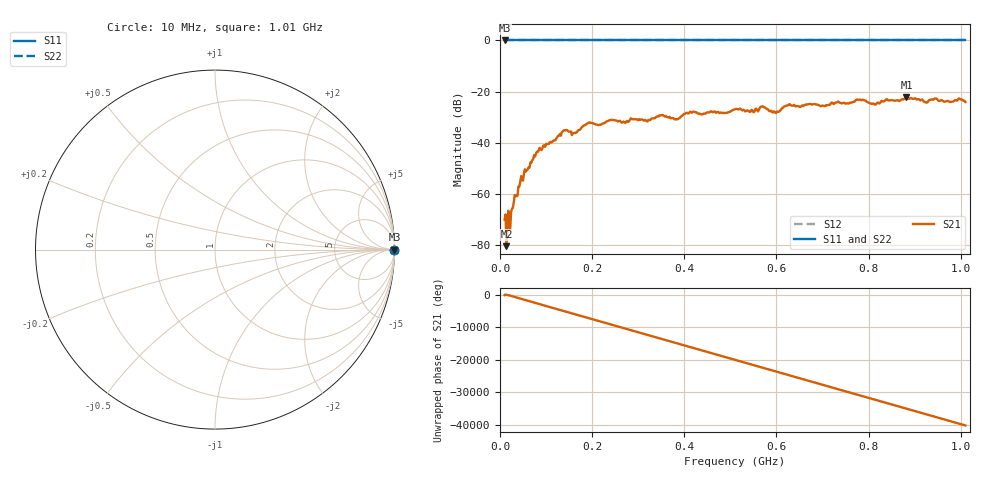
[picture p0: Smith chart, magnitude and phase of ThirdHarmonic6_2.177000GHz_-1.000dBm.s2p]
! 8/17/2025 1:58:20 AM
! C:\ANRITSUVNA\TEMP\TEMP.S2P
! CHANNEL.1
! TR.MEASUREMENT
! RAW.DATA
! RF.CORRECTION.OFF
! AVERAGING.OFF
! IF.BANDWIDTH: 5KHZ
! SWEEPTYPE:  FREQ.SWEEP(Linear)
! Reference Plane Port Info
! PORT:  PORT1  PORT2
! DISTANCE:  0  m  0  m
! TIME:  0  s  0  s
! PHASE.OFFSET:  0  deg.  0  deg.
! LOSS:  0  dB  0  dB
! REF.LOSS:  0  dB  0  dB
! REF.FREQ:  0  Hz  0  Hz
! Power Info
! POWER:  -20  dBm  -20  dBm
! EFF.POWER:  -20  dBm  -20  dBm
! SOURCE.ATTEN:  0  dB  0  dB
! TEST.ATTEN:  0  dB  0  dB
# GHZ S RI R 50.0
! FREQ.GHZ  S11RE  S11IM  S21RE  S21IM  S12RE  S12IM  S22RE  S22IM
!; PortSelection: Port_12
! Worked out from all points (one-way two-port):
!   501 points, 10 MHz to 1.01 GHz, reference 50 ohm
!   highest |S21| = -22.15 dB at 882 MHz (marker M1); lowest = -80.6 dB at 14 MHz (marker M2)
!   lowest |S11| = 0.0 dB at 10 MHz (marker M3)
!   |S11| at or under -10 dB: nowhere
!   |S22| runs from 0.0 to 0.0 dB; largest |S21 - S12| = 1.1
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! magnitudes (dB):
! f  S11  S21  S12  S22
! 10 MHz  0.0  -70.1  0.0  0.0
! 14 MHz  0.0  -80.6  0.0  0.0
! 18 MHz  0.0  -66.7  0.0  0.0
! 28 MHz  0.0  -65.5  0.0  0.0
! 44 MHz  0.0  -55.3  0.0  0.0
! 82 MHz  0.0  -43.7  0.0  0.0
! 138 MHz  0.0  -35.3  0.0  0.0
! 160 MHz  0.0  -36.3  0.0  0.0
! 178 MHz  0.0  -33.9  0.0  0.0
! 194 MHz  0.0  -32.1  0.0  0.0
! 344 MHz  0.0  -29.8  0.0  0.0
! 382 MHz  0.0  -30.8  0.0  0.0
! 416 MHz  0.0  -28.3  0.0  0.0
! 510 MHz  0.0  -27.0  0.0  0.0
! 548 MHz  0.0  -27.4  0.0  0.0
! 570 MHz  0.0  -25.8  0.0  0.0
! 596 MHz  0.0  -27.9  0.0  0.0
! 626 MHz  0.0  -25.3  0.0  0.0
! 678 MHz  0.0  -25.1  0.0  0.0
! 844 MHz  0.0  -23.5  0.0  0.0
! 882 MHz  0.0  -22.1  0.0  0.0
! 1.01 GHz  0.0  -24.1  0.0  0.0
